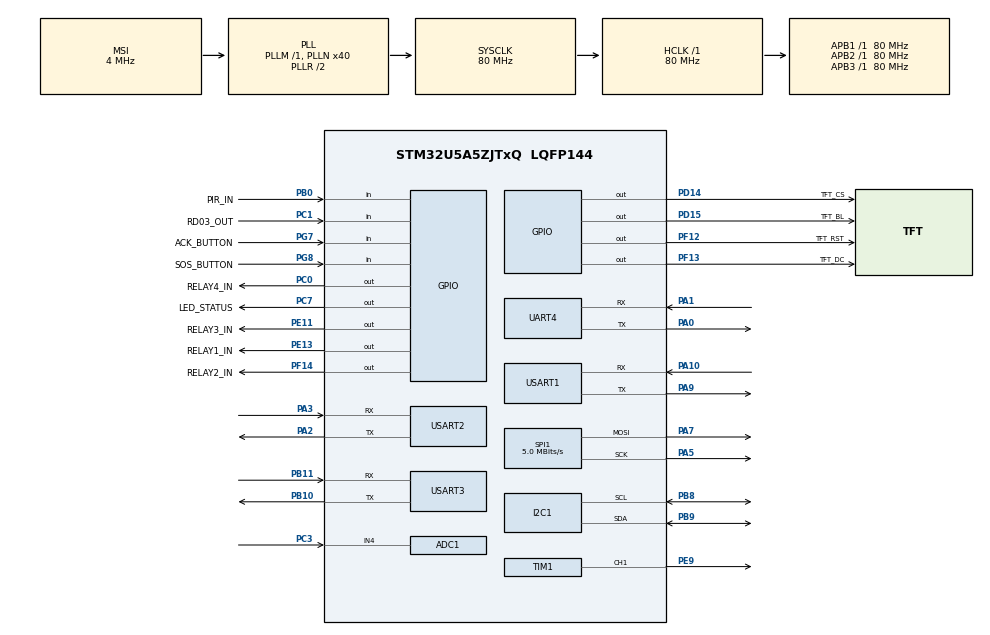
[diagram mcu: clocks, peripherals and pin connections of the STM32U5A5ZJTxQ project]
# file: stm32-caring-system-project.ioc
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ADC1.Channel-2\#ChannelRegularConversion=ADC_CHANNEL_4
ADC1.MonitoredBy-2\#ChannelRegularConversion=__NULL
ADC1.NbrOfConversionFlag=1
ADC1.OffsetNumber-2\#ChannelRegularConversion=ADC_OFFSET_NONE
ADC1.Overrun=ADC_OVR_DATA_OVERWRITTEN
ADC1.Rank-2\#ChannelRegularConversion=1
ADC1.Resolution=ADC_RESOLUTION_12B
ADC1.SamplingTime-2\#ChannelRegularConversion=ADC_SAMPLETIME_391CYCLES_5
ADC1.master=1
CORTEX_M33_NS.userName=CORTEX_M33
GPDMA1.DESTINC_GPDMACH1=DMA_DINC_INCREMENTED
GPDMA1.DIRECTION_GPDMACH0=DMA_MEMORY_TO_PERIPH
GPDMA1.DIRECTION_GPDMACH1=DMA_PERIPH_TO_MEMORY
GPDMA1.IPHANDLE_GPDMACH0-SIMPLEREQUEST_GPDMACH0=__NULL
GPDMA1.IPHANDLE_GPDMACH1-SIMPLEREQUEST_GPDMACH1=__NULL
GPDMA1.REQUEST_GPDMACH0=GPDMA1_REQUEST_USART2_TX
GPDMA1.REQUEST_GPDMACH1=GPDMA1_REQUEST_USART3_RX
GPDMA1.SRCINC_GPDMACH0=DMA_SINC_INCREMENTED
I2C1.Timing=0x10909CEC
Mcu.Family=STM32U5
Mcu.Name=STM32U5A5ZJTxQ
Mcu.Package=LQFP144
NVIC.GPDMA1_Channel0_IRQn=true\:0\:0\:false\:false\:true\:false\:true\:true
NVIC.GPDMA1_Channel1_IRQn=true\:0\:0\:false\:false\:true\:false\:true\:true
NVIC.PriorityGroup=NVIC_PRIORITYGROUP_4
NVIC.UART4_IRQn=true\:0\:0\:false\:false\:true\:true\:true\:true
NVIC.USART2_IRQn=true\:0\:0\:false\:false\:true\:true\:true\:true
NVIC.USART3_IRQn=true\:0\:0\:false\:false\:true\:true\:true\:true
PA0.Mode=Asynchronous
PA0.Signal=UART4_TX
PA1.Mode=Asynchronous
PA1.Signal=UART4_RX
PA10.Mode=Asynchronous
PA10.Signal=USART1_RX
PA2.Mode=Asynchronous
PA2.Signal=USART2_TX
PA3.Mode=Asynchronous
PA3.Signal=USART2_RX
PA5.GPIO_Speed=GPIO_SPEED_FREQ_VERY_HIGH
PA5.Mode=TX_Only_Simplex_Unidirect_Master
PA5.Signal=SPI1_SCK
PA7.GPIO_Speed=GPIO_SPEED_FREQ_VERY_HIGH
PA7.Mode=TX_Only_Simplex_Unidirect_Master
PA7.Signal=SPI1_MOSI
PA9.Mode=Asynchronous
PA9.Signal=USART1_TX
PB0.GPIO_Label=PIR_IN
PB0.GPIO_PuPd=GPIO_PULLDOWN
PB0.Signal=GPIO_Input
PB10.Mode=Asynchronous
PB10.Signal=USART3_TX
PB11.Mode=Asynchronous
PB11.Signal=USART3_RX
PB8.GPIO_Pu=GPIO_PULLUP
PB8.Mode=I2C
PB8.Signal=I2C1_SCL
PB9.GPIO_Pu=GPIO_PULLUP
PB9.Mode=I2C
PB9.Signal=I2C1_SDA
PC0.GPIO_Label=RELAY4_IN
PC0.GPIO_ModeDefaultOutputPP=GPIO_MODE_OUTPUT_PP
PC0.Signal=GPIO_Output
PC1.GPIO_Label=RD03_OUT
PC1.GPIO_PuPd=GPIO_PULLDOWN
PC1.Signal=GPIO_Input
PC3.Mode=IN4-Single-Ended
PC3.Signal=ADC1_IN4
PC7.GPIO_Label=LED_STATUS
PC7.Signal=GPIO_Output
PD14.GPIO_Label=TFT_CS
PD14.PinState=GPIO_PIN_SET
PD14.Signal=GPIO_Output
PD15.GPIO_Label=TFT_BL
PD15.Signal=GPIO_Output
PE11.GPIO_Label=RELAY3_IN
PE11.Signal=GPIO_Output
PE13.GPIO_Label=RELAY1_IN
PE13.Signal=GPIO_Output
PE9.Signal=S_TIM1_CH1
PF12.GPIO_Label=TFT_RST
PF12.PinState=GPIO_PIN_SET
PF12.Signal=GPIO_Output
PF13.GPIO_Label=TFT_DC
PF13.Signal=GPIO_Output
PF14.GPIO_Label=RELAY2_IN
PF14.Signal=GPIO_Output
PG7.GPIO_Label=ACK_BUTTON
PG7.GPIO_PuPd=GPIO_PULLUP
PG7.Signal=GPIO_Input
PG8.GPIO_Label=SOS_BUTTON
PG8.GPIO_PuPd=GPIO_PULLUP
PG8.Signal=GPIO_Input
ProjectManager.HeapSize=0x200
ProjectManager.StackSize=0x1000
ProjectManager.TargetToolchain=CMake
RCC.ADCFreq_Value=16000000
RCC.AHBFreq_Value=80000000
RCC.APB1Freq_Value=80000000
RCC.APB1TimFreq_Value=80000000
RCC.APB2Freq_Value=80000000
RCC.APB2TimFreq_Value=80000000
RCC.APB3Freq_Value=80000000
RCC.CortexFreq_Value=80000000
RCC.EPOD_VALUE=4000000
RCC.HCLKFreq_Value=80000000
RCC.HSE_VALUE=16000000
RCC.HSI48_VALUE=48000000
RCC.HSI_VALUE=16000000
RCC.LSE_VALUE=32768
RCC.LSIDIV_VALUE=32000
RCC.MSI_VALUE=4000000
RCC.PLLN=40
RCC.SYSCLKFreq_VALUE=80000000
RCC.SYSCLKSource=RCC_SYSCLKSOURCE_PLLCLK
RCC.VCOOutputFreq_Value=160000000
SH.S_TIM1_CH1.0=TIM1_CH1,PWM Generation1 CH1
SPI1.BaudRatePrescaler=SPI_BAUDRATEPRESCALER_16
SPI1.CLKPhase=SPI_PHASE_2EDGE
SPI1.CLKPolarity=SPI_POLARITY_HIGH
SPI1.CalculateBaudRate=5.0 MBits/s
SPI1.DataSize=SPI_DATASIZE_8BIT
SPI1.Direction=SPI_DIRECTION_2LINES_TXONLY
SPI1.Mode=SPI_MODE_MASTER
SPI1.VirtualType=VM_MASTER
TIM1.Channel-PWM\ Generation1\ CH1=TIM_CHANNEL_1
TIM1.PeriodNoDither=499
TIM1.Prescaler=79
USART1.VirtualMode-Asynchronous=VM_ASYNC
USART2.VirtualMode-Asynchronous=VM_ASYNC
USART3.VirtualMode-Asynchronous=VM_ASYNC
VP_GPDMA1_VS_GPDMACH0.Mode=SIMPLEREQUEST_GPDMACH0
VP_GPDMA1_VS_GPDMACH1.Mode=SIMPLEREQUEST_GPDMACH1
VP_ICACHE_VS_ICACHE.Mode=DirectMappedCache
VP_LPBAMQUEUE_VS_QUEUE.Mode=QUEUEMODE
VP_LPBAM_VS_SIG1.Mode=SmartRun
VP_LPBAM_VS_SIG4.Mode=LPDMA1
VP_MEMORYMAP_VS_MEMORYMAP.Mode=CurAppReg
VP_PWR_VS_SECSignals.Mode=Security/Privilege
VP_PWR_Vdda.Mode=isolationVdda
VP_TIM1_VS_ControllerModeClock.Mode=Clock Mode
board=custom

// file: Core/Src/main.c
/* USER CODE BEGIN Header */
/**
  ******************************************************************************
  * @file           : main.c
  * @brief          : Main program body
  ******************************************************************************
  * @attention
  *
  * Copyright (c) 2026 STMicroelectronics.
  * All rights reserved.
  *
  * This software is licensed under terms that can be found in the LICENSE file
  * in the root directory of this software component.
  * If no LICENSE file comes with this software, it is provided AS-IS.
  *
  ******************************************************************************
  */
/* USER CODE END Header */
#include "main.h"
#include "adc.h"
#include "gpdma.h"
#include "i2c.h"
#include "icache.h"
#include "spi.h"
#include "tim.h"
#include "usart.h"
#include "gpio.h"

/* USER CODE BEGIN Includes */
#include "app_state_machine.h"
#include "board_io.h"
#include "edge_ai.h"
#include "sensor_mvp.h"
#include "scene_engine.h"
#include "status_display.h"
#include "rd03_v2.h"
#include <stdio.h>
#include <string.h>
#include "comm_wifi.h"
#include "comm_local.h"
#include "tft_lcd.h"

/* USER CODE END Includes */

/* USER CODE BEGIN PD */
#define MAIN_STATUS_TX_PERIOD_MS 2000U
#define MAIN_DISPLAY_STATUS_PERIOD_MS 1000U
#define MAIN_AI_SAMPLE_PERIOD_MS 2000U
#define MAIN_BUZZER_TEST_MS 1000U
#define MAIN_RELAY_ALERT_MASK ((uint8_t)(1U << 0U))
#define MAIN_RELAY_OFFLINE_MASK ((uint8_t)(1U << 1U))
#define MAIN_GAS_WARN_PPM_EST 100U
#define MAIN_WIFI_ACK_TIMEOUT_MS 7000U
#define MAIN_WIFI_ACK_STARTUP_GRACE_MS 9000U

/* USER CODE END PD */

/* USER CODE BEGIN PV */
static uint8_t s_relay_state_mask = 0U;
static uint8_t s_relay_manual_mask = 0U;
static uint8_t s_relay_auto_mask = 0U;
static uint32_t s_debug_request_id = 9000UL;
static uint8_t s_debug_rx_byte = 0U;
static volatile uint8_t s_debug_rx_pending = 0U;
static uint8_t s_display_frozen = 0U;
static uint8_t s_tft_inversion = 0U;
static uint32_t s_buzzer_test_until = 0UL;
static uint32_t s_ai_session_id = 0UL;
static const char *s_ai_session_label = "idle";
static uint32_t s_last_wifi_ack_ms = 0UL;
static uint32_t s_last_wifi_ack_seq = 0UL;
static int16_t s_last_wifi_rssi_dbm = -127;
static uint8_t s_wifi_ack_seen = 0U;
static uint8_t s_wifi_link_online = 1U;

/* USER CODE END PV */

void SystemClock_Config(void);
/* USER CODE BEGIN PFP */
void HAL_UART_TxCpltCallback(UART_HandleTypeDef *huart){
    if(huart==&huart2){
        CommWifi_OnTxComplete();
    }
}

void HAL_UART_RxCpltCallback(UART_HandleTypeDef *huart){
    if(huart==&huart1){
        s_debug_rx_pending = 1U;
    }
    else if(huart==&huart2){
        CommWifi_OnRxComplete();
    }
    else if(huart==&huart4){
        CommLocal_OnRxComplete();
    }
}

void HAL_UARTEx_RxEventCallback(UART_HandleTypeDef *huart, uint16_t Size){
    if(huart==&huart3){
        Rd03V2_OnUartRxEvent(huart, Size);
    }
}

void HAL_UART_ErrorCallback(UART_HandleTypeDef *huart){
    if(huart==&huart1){
        (void)HAL_UART_Receive_IT(&huart1, &s_debug_rx_byte, 1U);
    } else if(huart==&huart2){
        CommWifi_OnUartError();
    } else if(huart==&huart3){
        Rd03V2_OnUartError(huart);
    } else if(huart==&huart4){
        CommLocal_OnUartError();
    }
}
/* USER CODE END PFP */

/* USER CODE BEGIN 0 */
static void Debug_WriteLine(const char *text)
{
  const uint8_t newline[] = "\r\n";

  if (text == NULL)
  {
    return;
  }

  if (HAL_UART_Transmit(&huart1, (const uint8_t *)text, (uint16_t)strlen(text), 100U) != HAL_OK)
  {
    Error_Handler();
  }

  if (HAL_UART_Transmit(&huart1, newline, (uint16_t)(sizeof(newline) - 1U), 100U) != HAL_OK)
  {
    Error_Handler();
  }
}

static AppCommandType_t AppCommand_FromInt(int value)
{
  if ((value < (int)APP_COMMAND_TRIGGER_SCENARIO) || (value > (int)APP_COMMAND_DEBUG_SET_GAS_PPM_OFFSET))
  {
    return APP_COMMAND_CLEAR_ALARM;
  }

  return (AppCommandType_t)value;
}

static AppScenario_t AppScenario_FromInt(int value)
{
  if (value == (int)APP_SCENARIO_GAS_RISK)
  {
    return APP_SCENARIO_GAS_RISK;
  }

  if ((value < (int)APP_SCENARIO_NONE) || (value > (int)APP_SCENARIO_OFFLINE_AUTONOMY))
  {
    return APP_SCENARIO_NONE;
  }

  return (AppScenario_t)value;
}

static void Apply_Relay_Mask(uint8_t relay_mask)
{
  s_relay_state_mask = (uint8_t)(relay_mask & 0x0FU);
  BoardIo_SetRelayMask(s_relay_state_mask);
  AppStateMachine_SetRelayStateMask(s_relay_state_mask);
}

static uint8_t Build_Auto_Relay_Mask(const AppStatus_t *status)
{
  uint8_t mask = 0U;

  if (status == NULL)
  {
    return 0U;
  }

  if ((status->state == APP_STATE_ACK_WAIT) ||
      (status->state == APP_STATE_ALARM) ||
      (status->state == APP_STATE_NO_RESPONSE))
  {
    mask |= MAIN_RELAY_ALERT_MASK;
  }

  if (status->network_state == APP_NETWORK_OFFLINE)
  {
    mask |= MAIN_RELAY_OFFLINE_MASK;
  }

  return mask;
}

static void Update_Relay_Output(void)
{
  Apply_Relay_Mask((uint8_t)(s_relay_manual_mask | s_relay_auto_mask));
}

static void Update_Relay_Automation(void)
{
  char line[128];
  AppStatus_t app_status;
  uint8_t next_auto_mask;

  AppStateMachine_GetStatus(&app_status);
  next_auto_mask = Build_Auto_Relay_Mask(&app_status);
  if (next_auto_mask == s_relay_auto_mask)
  {
    return;
  }

  s_relay_auto_mask = next_auto_mask;
  Update_Relay_Output();

  (void)snprintf(line,
                 sizeof(line),
                 "[INFO] relay auto manual=%u auto=%u output=%u state=%s risk=%d",
                 (unsigned int)s_relay_manual_mask,
                 (unsigned int)s_relay_auto_mask,
                 (unsigned int)s_relay_state_mask,
                 AppStatus_ToDisplayText(&app_status),
                 app_status.risk);
  Debug_WriteLine(line);
}

static void Clear_Relay_Manual_Mask(const char *source)
{
  char line[128];
  const uint8_t previous_manual_mask = s_relay_manual_mask;

  s_relay_manual_mask = 0U;
  Update_Relay_Automation();
  Update_Relay_Output();

  if (previous_manual_mask != 0U)
  {
    (void)snprintf(line,
                   sizeof(line),
                   "[INFO] %s relay manual cleared previous=%u auto=%u output=%u",
                   (source != NULL) ? source : "ack",
                   (unsigned int)previous_manual_mask,
                   (unsigned int)s_relay_auto_mask,
                   (unsigned int)s_relay_state_mask);
    Debug_WriteLine(line);
  }
}

static void Handle_Relay_Command(const CommWifi_RelayCommand_t *cmd, const char *source)
{
  char line[128];
  uint8_t relay_bit;
  CommWifi_RelayAction_t final_state;
  CommWifi_RelayResult_t relay_result;
  CommWifi_RelayReason_t relay_reason;
  CommWifi_Result result;

  if (cmd == NULL)
  {
    return;
  }

  relay_bit = (uint8_t)(1U << (cmd->relay_id - 1U));
  if (cmd->action == COMM_WIFI_RELAY_ACTION_ON)
  {
    s_relay_manual_mask = (uint8_t)(s_relay_manual_mask | relay_bit);
  }
  else
  {
    s_relay_manual_mask = (uint8_t)(s_relay_manual_mask & (uint8_t)(~relay_bit));
  }

  Update_Relay_Output();
  final_state = ((s_relay_state_mask & relay_bit) != 0U) ?
                COMM_WIFI_RELAY_ACTION_ON :
                COMM_WIFI_RELAY_ACTION_OFF;
  relay_result = (final_state == cmd->action) ?
                 COMM_WIFI_RELAY_RESULT_OK :
                 COMM_WIFI_RELAY_RESULT_DENY;
  relay_reason = (relay_result == COMM_WIFI_RELAY_RESULT_OK) ?
                 COMM_WIFI_RELAY_REASON_NONE :
                 COMM_WIFI_RELAY_REASON_BUSY;

  result = CommWifi_SendRelayResult(cmd->request_id,
                                    cmd->relay_id,
                                    relay_result,
                                    final_state,
                                    relay_reason);

  (void)snprintf(line,
                 sizeof(line),
                 "[INFO] %s relay cmd id=%lu relay=%u request=%s final=%s manual=%u auto=%u output=%u result=%d",
                 (source != NULL) ? source : "remote",
                 (unsigned long)cmd->request_id,
                 (unsigned int)cmd->relay_id,
                 (cmd->action == COMM_WIFI_RELAY_ACTION_ON) ? "ON" : "OFF",
                 (final_state == COMM_WIFI_RELAY_ACTION_ON) ? "ON" : "OFF",
                 (unsigned int)s_relay_manual_mask,
                 (unsigned int)s_relay_auto_mask,
                 (unsigned int)s_relay_state_mask,
                 (int)result);
  Debug_WriteLine(line);
}

static void Handle_Protocol_Command(const CommWifi_Command_t *command, uint32_t now, const char *source)
{
  char line[128];

  if (command == NULL)
  {
    return;
  }

  if (command->type == COMM_WIFI_COMMAND_LINK_ACK)
  {
    const uint8_t online = command->data.link_ack.online;
    const uint8_t changed = (online != s_wifi_link_online) ? 1U : 0U;

    s_wifi_ack_seen = 1U;
    s_last_wifi_ack_ms = now;
    s_last_wifi_ack_seq = command->data.link_ack.status_seq;
    s_last_wifi_rssi_dbm = command->data.link_ack.rssi_dbm;
    if (changed != 0U)
    {
      s_wifi_link_online = online;
      AppStateMachine_SetNetworkAvailable(online != 0U, now);
      (void)snprintf(line,
                     sizeof(line),
                     "[INFO] wifi heartbeat %s seq=%lu rssi=%d",
                     (online != 0U) ? "online" : "offline",
                     (unsigned long)s_last_wifi_ack_seq,
                     (int)s_last_wifi_rssi_dbm);
      Debug_WriteLine(line);
    }
  }
  else if (command->type == COMM_WIFI_COMMAND_RELAY)
  {
    Handle_Relay_Command(&command->data.relay, source);
  }
  else if (command->type == COMM_WIFI_COMMAND_DEMO)
  {
    const AppCommandType_t app_command = AppCommand_FromInt(command->data.demo.command_type);
    const AppScenario_t app_scenario = AppScenario_FromInt(command->data.demo.scenario);

    if (app_command == APP_COMMAND_DEBUG_SET_GAS_PPM_OFFSET)
    {
      uint16_t offset = 0U;

      if (command->data.demo.value > 0)
      {
        offset = (command->data.demo.value > 9999) ? 9999U : (uint16_t)command->data.demo.value;
      }

      SensorMvp_SetGasPpmDebugOffset(offset);
      (void)snprintf(line,
                     sizeof(line),
                     "[INFO] %s gas ppm debug offset=%u id=%lu scenario=%d value=%d",
                     (source != NULL) ? source : "remote",
                     (unsigned int)offset,
                     (unsigned long)command->data.demo.request_id,
                     command->data.demo.scenario,
                     command->data.demo.value);
      Debug_WriteLine(line);
      return;
    }

    AppStateMachine_HandleDemoCommand(command->data.demo.request_id,
                                      app_command,
                                      app_scenario,
                                      command->data.demo.value,
                                      now);
    if ((app_command == APP_COMMAND_USER_ACK) || (app_command == APP_COMMAND_CLEAR_ALARM))
    {
      Clear_Relay_Manual_Mask(source);
    }
    else
    {
      Update_Relay_Automation();
    }
    (void)snprintf(line,
                   sizeof(line),
                   "[INFO] %s demo cmd id=%lu type=%d scenario=%d value=%d",
                   (source != NULL) ? source : "remote",
                   (unsigned long)command->data.demo.request_id,
                   command->data.demo.command_type,
                   command->data.demo.scenario,
                   command->data.demo.value);
    Debug_WriteLine(line);
  }
}

static void Update_Wifi_Link_Health(uint32_t now)
{
  const uint8_t timed_out =
      ((s_wifi_ack_seen != 0U) && ((now - s_last_wifi_ack_ms) > MAIN_WIFI_ACK_TIMEOUT_MS)) ||
      ((s_wifi_ack_seen == 0U) && (now > MAIN_WIFI_ACK_STARTUP_GRACE_MS));

  if ((timed_out != 0U) && (s_wifi_link_online != 0U))
  {
    s_wifi_link_online = 0U;
    AppStateMachine_SetNetworkAvailable(false, now);
    Debug_WriteLine("[WARN] wifi heartbeat timeout, enter local autonomy");
  }
}

static void Process_Cloud_Commands(uint32_t now)
{
  CommWifi_Command_t command;

  while (CommWifi_PollCommand(&command) == COMM_WIFI_OK)
  {
    Handle_Protocol_Command(&command, now, "cloud");
  }
}

static void Handle_Voice_Risk_Command(const CommWifi_VoiceRiskCommand_t *command, uint32_t now)
{
  char line[128];

  if (command == NULL)
  {
    return;
  }

  AppStateMachine_HandleVoiceRisk(command->request_id, command->risk_level, now);
  if (command->risk_level == 0U)
  {
    Clear_Relay_Manual_Mask("voice");
  }
  else
  {
    Update_Relay_Automation();
  }

  (void)snprintf(line,
                 sizeof(line),
                 "[INFO] voice risk cmd id=%lu level=%u",
                 (unsigned long)command->request_id,
                 (unsigned int)command->risk_level);
  Debug_WriteLine(line);
}

static void Process_LocalVoice_Commands(uint32_t now)
{
  CommWifi_Command_t command;

  while (CommLocal_PollCommand(&command) == COMM_WIFI_OK)
  {
    if (command.type == COMM_WIFI_COMMAND_VOICE_RISK)
    {
      Handle_Voice_Risk_Command(&command.data.voice_risk, now);
    }
    else
    {
      Handle_Protocol_Command(&command, now, "voice");
    }
  }
}

static void Flush_App_Events(void)
{
  char line[256];
  AppEventRecord_t event;

  while (AppStateMachine_PollEvent(&event))
  {
    const CommWifi_Result result = CommWifi_SendEvent(event.event_id,
                                                       (int)event.scenario,
                                                       (int)event.event_type,
                                                       (int)event.trigger_source,
                                                       (int)event.state_before,
                                                       (int)event.state_after,
                                                       event.risk,
                                                       (int)event.result,
                                                       (int)event.network_state,
                                                       (int)event.power_state,
                                                       event.flags,
                                                       event.timestamp_ms);

    (void)snprintf(line,
                   sizeof(line),
                   "[INFO] app event id=%lu scenario=%s(%d) type=%s(%d) source=%s state=%s->%s risk=%d result=%s tx=%d",
                   (unsigned long)event.event_id,
                   AppScenario_ToShortText(event.scenario),
                   (int)event.scenario,
                   AppEventType_ToText(event.event_type),
                   (int)event.event_type,
                   AppTriggerSource_ToText(event.trigger_source),
                   AppState_ToText(event.state_before),
                   AppState_ToText(event.state_after),
                   event.risk,
                   AppResult_ToText(event.result),
                   (int)result);
    Debug_WriteLine(line);

    (void)snprintf(line,
                   sizeof(line),
                   "[INFO] app event detail network=%s power=%s flags=0x%08lX t=%lu",
                   AppNetworkState_ToText(event.network_state),
                   AppPowerState_ToText(event.power_state),
                   (unsigned long)event.flags,
                   (unsigned long)event.timestamp_ms);
    Debug_WriteLine(line);
  }
}

static void Update_App(uint32_t now)
{
  SensorMvp_Status_t status;
  AppStatus_t app_status;
  EdgeAi_Result_t edge_ai;

  if (SensorMvp_GetStatus(&status) == HAL_OK)
  {
    AppStateMachine_GetStatus(&app_status);
    (void)EdgeAi_UpdateIfDue(&status, &app_status, now);
    EdgeAi_GetResult(&edge_ai);
    AppStateMachine_SetEdgeAiHint((edge_ai.stale == 0U) ? edge_ai.valid : 0U,
                                  (uint8_t)edge_ai.scene,
                                  (uint8_t)edge_ai.raw_scene,
                                  edge_ai.risk_level,
                                  edge_ai.confidence,
                                  edge_ai.stability,
                                  edge_ai.evidence_mask,
                                  edge_ai.anomaly_score,
                                  edge_ai.trend_score);
    AppStateMachine_Update(&status, now);
    AppStateMachine_GetStatus(&app_status);
    SceneEngine_Update(&status, &app_status, now);
  }
  else
  {
    AppStateMachine_GetStatus(&app_status);
    (void)EdgeAi_UpdateIfDue(NULL, &app_status, now);
    EdgeAi_GetResult(&edge_ai);
    AppStateMachine_SetEdgeAiHint((edge_ai.stale == 0U) ? edge_ai.valid : 0U,
                                  (uint8_t)edge_ai.scene,
                                  (uint8_t)edge_ai.raw_scene,
                                  edge_ai.risk_level,
                                  edge_ai.confidence,
                                  edge_ai.stability,
                                  edge_ai.evidence_mask,
                                  edge_ai.anomaly_score,
                                  edge_ai.trend_score);
    AppStateMachine_Update(NULL, now);
    AppStateMachine_GetStatus(&app_status);
    SceneEngine_Update(NULL, &app_status, now);
  }
}

static void Update_BoardIo(uint32_t now)
{
  AppStatus_t app_status;
  BoardIo_Events_t events;

  AppStateMachine_GetStatus(&app_status);
  if (s_buzzer_test_until != 0UL)
  {
    if ((int32_t)(now - s_buzzer_test_until) < 0)
    {
      app_status.state = APP_STATE_ALARM;
    }
    else
    {
      s_buzzer_test_until = 0UL;
    }
  }
  BoardIo_Update(now, &app_status, &events);

  if (events.sos_pressed != 0U)
  {
    Debug_WriteLine("[INFO] local sos button pressed");
    AppStateMachine_HandleLocalSos(now);
  }

  if (events.ack_pressed != 0U)
  {
    Debug_WriteLine("[INFO] local ack button pressed");
    AppStateMachine_HandleLocalAck(now);
    Clear_Relay_Manual_Mask("local ack");
  }
}

static void Print_DebugConsole_Help(void)
{
  Debug_WriteLine("[INFO] console: s=SOS a=ACK c=clear 1=fall-demo 2=still-demo 3=gas-demo o=offline n=online h=help");
  Debug_WriteLine("[INFO] console: 4=gas+150ppm 5=gas+350ppm 0=clear-gas-debug 6/7/8=voice-risk1/2/3 9=voice-clear");
  Debug_WriteLine("[INFO] console: r/t/y/u=relay b=buzzer p=status k=radar-cal d=display-freeze i=tft-invert");
  Debug_WriteLine("[INFO] console: ai labels e=env w=walk f=fall j=still g=gas v=voice x=idle");
}

static const char *Get_RiskSource_Text(const SensorMvp_Status_t *sensor, const AppStatus_t *app_status)
{
  if (app_status == NULL)
  {
    return "UNKNOWN";
  }

  if ((app_status->state == APP_STATE_ACK_WAIT) ||
      (app_status->state == APP_STATE_ALARM) ||
      (app_status->state == APP_STATE_NO_RESPONSE))
  {
    switch (app_status->last_trigger_source)
    {
      case APP_TRIGGER_VOICE:
        return "VOICE_ACK";
      case APP_TRIGGER_SENSOR:
        return "GAS_ACK";
      case APP_TRIGGER_RADAR:
        return "RADAR_ACK";
      case APP_TRIGGER_BUTTON:
        return "BUTTON_ACK";
      case APP_TRIGGER_REMOTE:
        return "REMOTE_ACK";
      case APP_TRIGGER_AI:
        return "EDGE_AI_ACK";
      default:
        return "STATE_ACK";
    }
  }

  if ((app_status->last_trigger_source == APP_TRIGGER_VOICE) && (app_status->risk > 0))
  {
    return "VOICE";
  }

  if ((app_status->last_trigger_source == APP_TRIGGER_AI) && (app_status->risk > 0))
  {
    return "EDGE_AI";
  }

  if ((app_status->risk <= 0) && (app_status->state != APP_STATE_NOTICE))
  {
    return "NONE";
  }

  if ((sensor != NULL) &&
      (sensor->gas_valid != 0U) &&
      (sensor->gas_ppm_est >= MAIN_GAS_WARN_PPM_EST))
  {
    return "GAS";
  }

  if ((app_status->edge_ai_valid != 0U) &&
      (app_status->edge_ai_risk > 0U) &&
      (app_status->edge_ai_confidence >= 60U) &&
      (app_status->edge_ai_stability >= 2U))
  {
    return "EDGE_AI";
  }

  if (app_status->network_state == APP_NETWORK_OFFLINE)
  {
    return "NETWORK";
  }

  if ((sensor != NULL) && (sensor->presence != 0))
  {
    if (sensor->radar_presence != 0U)
    {
      return "RADAR_UART";
    }
    if (sensor->rd03_ot2_presence != 0U)
    {
      return "RD03_OT2";
    }
    if (sensor->pir_presence != 0U)
    {
      return "PIR";
    }
    return "PRESENCE";
  }

  if (app_status->state == APP_STATE_NOTICE)
  {
    return "NOTICE";
  }

  return "NONE";
}

static void Handle_DebugVoiceRisk(uint8_t risk_level, uint32_t now)
{
  CommWifi_VoiceRiskCommand_t command;

  command.request_id = s_debug_request_id++;
  command.risk_level = risk_level;
  Handle_Voice_Risk_Command(&command, now);
}

static void Set_AiSession_Label(const char *label)
{
  char line[128];

  if (label == NULL)
  {
    label = "idle";
  }

  s_ai_session_label = label;
  if (strcmp(label, "idle") == 0)
  {
    s_ai_session_id = 0UL;
  }
  else
  {
    s_ai_session_id++;
  }

  (void)snprintf(line,
                 sizeof(line),
                 "[INFO] ai label session=%lu label=%s",
                 (unsigned long)s_ai_session_id,
                 s_ai_session_label);
  Debug_WriteLine(line);
}

static void DebugConsole_StartRx(void)
{
  HAL_NVIC_SetPriority(USART1_IRQn, 0, 0);
  HAL_NVIC_EnableIRQ(USART1_IRQn);

  if (HAL_UART_Receive_IT(&huart1, &s_debug_rx_byte, 1U) == HAL_OK)
  {
    Debug_WriteLine("[INFO] console rx armed");
  }
  else
  {
    Debug_WriteLine("[WARN] console rx arm failed");
  }
}

static void Print_DebugConsole_Status(void)
{
  char line[640];
  SensorMvp_Status_t sensor_status;
  AppStatus_t app_status;
  SceneEngine_Status_t scene_status;
  EdgeAi_Result_t edge_ai_result;
  const SensorMvp_Status_t *sensor_for_risk = NULL;
  uint32_t edge_ai_age_ms = 0UL;

  AppStateMachine_GetStatus(&app_status);
  SceneEngine_GetStatus(&scene_status);
  EdgeAi_GetResult(&edge_ai_result);
  if (edge_ai_result.sequence != 0UL)
  {
    edge_ai_age_ms = HAL_GetTick() - edge_ai_result.last_update_ms;
  }
  if (SensorMvp_GetStatus(&sensor_status) == HAL_OK)
  {
    sensor_for_risk = &sensor_status;
  }

  (void)snprintf(line,
                 sizeof(line),
                 "[INFO] console app state=%s scenario=%s risk=%d risk_src=%s ack_ms=%lu relay=%u manual=%u auto=%u ai_session=%lu ai_label=%s edge_ai=%s raw=%s risk=%u conf=%u stab=%u score=%u trend=%u ev=0x%02X ai_ms=%lu ai_max=%lu ai_age=%lu ai_skip=%lu ai_stale=%u",
                 AppStatus_ToDisplayText(&app_status),
                 AppScenario_ToShortText(app_status.scenario),
                 app_status.risk,
                 Get_RiskSource_Text(sensor_for_risk, &app_status),
                 (unsigned long)app_status.ack_remaining_ms,
                 (unsigned int)app_status.relay_state_mask,
                 (unsigned int)s_relay_manual_mask,
                 (unsigned int)s_relay_auto_mask,
                 (unsigned long)s_ai_session_id,
                 s_ai_session_label,
                 EdgeAi_SceneToText((EdgeAiScene_t)app_status.edge_ai_scene),
                 EdgeAi_SceneToText((EdgeAiScene_t)app_status.edge_ai_raw_scene),
                 (unsigned int)app_status.edge_ai_risk,
                 (unsigned int)app_status.edge_ai_confidence,
                 (unsigned int)app_status.edge_ai_stability,
                 (unsigned int)app_status.edge_ai_anomaly_score,
                 (unsigned int)app_status.edge_ai_trend_score,
                 (unsigned int)app_status.edge_ai_evidence_mask,
                 (unsigned long)edge_ai_result.last_run_ms,
                 (unsigned long)edge_ai_result.max_run_ms,
                 (unsigned long)edge_ai_age_ms,
                 (unsigned long)edge_ai_result.skipped_count,
                 (unsigned int)edge_ai_result.stale);
  Debug_WriteLine(line);

  (void)snprintf(line,
                 sizeof(line),
                 "[INFO] console scene top=%s action=%s severity=%u conf=%u count=%u mask=0x%08lX evidence=%u/%u",
                 SceneEngine_IdToText(scene_status.top.id),
                 SceneEngine_ActionToText(scene_status.top.action_hint),
                 (unsigned int)scene_status.top.severity,
                 (unsigned int)scene_status.top.confidence,
                 (unsigned int)scene_status.signal_count,
                 (unsigned long)scene_status.scene_mask,
                 (unsigned int)scene_status.top.evidence_primary,
                 (unsigned int)scene_status.top.evidence_secondary);
  Debug_WriteLine(line);

  if (sensor_for_risk != NULL)
  {
    (void)snprintf(line,
                   sizeof(line),
                   "[INFO] console sensor env_valid=%u gas_valid=%u temp=%.1f hum=%.1f gas_mv=%d base=%u delta=%u ppm=%u ppm_dbg=%u presence=%d",
                   (unsigned int)sensor_status.env_valid,
                   (unsigned int)sensor_status.gas_valid,
                   sensor_status.temperature_c,
                   sensor_status.humidity_pct,
                   sensor_status.gas,
                   (unsigned int)sensor_status.gas_baseline_mv,
                   (unsigned int)sensor_status.gas_delta_mv,
                   (unsigned int)sensor_status.gas_ppm_est,
                   (unsigned int)SensorMvp_GetGasPpmDebugOffset(),
                   sensor_status.presence);
    Debug_WriteLine(line);

    (void)snprintf(line,
                   sizeof(line),
                   "[INFO] console radar pir=%u rd03_ot2=%u valid=%u presence=%u cm=%u zone=%u peak_gate=%u peak_cm=%u active=%u motion=%lu energy=%lu still=%lu occupied=%lu age_ms=%lu",
                   (unsigned int)sensor_status.pir_presence,
                   (unsigned int)sensor_status.rd03_ot2_presence,
                   (unsigned int)sensor_status.radar_valid,
                   (unsigned int)sensor_status.radar_presence,
                   (unsigned int)sensor_status.radar_distance_cm,
                   (unsigned int)sensor_status.radar_zone,
                   (unsigned int)sensor_status.radar_peak_gate,
                   (unsigned int)sensor_status.radar_peak_gate_cm,
                   (unsigned int)sensor_status.radar_active_gate_count,
                   (unsigned long)sensor_status.radar_motion_score,
                   (unsigned long)sensor_status.radar_energy_sum,
                   (unsigned long)sensor_status.radar_still_seconds,
                   (unsigned long)sensor_status.radar_occupied_seconds,
                   (unsigned long)sensor_status.radar_last_seen_age_ms);
  }
  else
  {
    (void)snprintf(line,
                   sizeof(line),
                   "[INFO] console sensor=invalid");
  }

  Debug_WriteLine(line);
}

static void Toggle_DebugRelay(uint8_t relay_id)
{
  char line[128];
  uint8_t relay_bit;

  if ((relay_id == 0U) || (relay_id > 4U))
  {
    return;
  }

  relay_bit = (uint8_t)(1U << (relay_id - 1U));
  s_relay_manual_mask = (uint8_t)(s_relay_manual_mask ^ relay_bit);
  Update_Relay_Output();

  (void)snprintf(line,
                 sizeof(line),
                 "[INFO] console relay%u manual=%s manual=%u auto=%u output=%u",
                 (unsigned int)relay_id,
                 ((s_relay_manual_mask & relay_bit) != 0U) ? "ON" : "OFF",
                 (unsigned int)s_relay_manual_mask,
                 (unsigned int)s_relay_auto_mask,
                 (unsigned int)s_relay_state_mask);
  Debug_WriteLine(line);
}

static void Handle_DebugConsole_Command(uint8_t command, uint32_t now)
{
  char line[48];

  if ((command >= 32U) && (command <= 126U))
  {
    (void)snprintf(line, sizeof(line), "[INFO] console rx=%c", (char)command);
  }
  else
  {
    (void)snprintf(line, sizeof(line), "[INFO] console rx=0x%02X", (unsigned int)command);
  }
  Debug_WriteLine(line);

  switch (command)
  {
    case 's':
    case 'S':
      Debug_WriteLine("[INFO] console trigger local SOS");
      AppStateMachine_HandleLocalSos(now);
      break;

    case 'a':
    case 'A':
      Debug_WriteLine("[INFO] console trigger local ACK");
      AppStateMachine_HandleLocalAck(now);
      Clear_Relay_Manual_Mask("console ack");
      break;

    case 'c':
    case 'C':
      Debug_WriteLine("[INFO] console clear alarm");
      AppStateMachine_HandleDemoCommand(s_debug_request_id++,
                                        APP_COMMAND_CLEAR_ALARM,
                                        APP_SCENARIO_NONE,
                                        1,
                                        now);
      Clear_Relay_Manual_Mask("console clear");
      break;

    case '1':
      Debug_WriteLine("[INFO] console trigger scenario SOS/FALL");
      AppStateMachine_HandleDemoCommand(s_debug_request_id++,
                                        APP_COMMAND_TRIGGER_SCENARIO,
                                        APP_SCENARIO_SOS_OR_FALL_SIM,
                                        1,
                                        now);
      break;

    case '2':
      Debug_WriteLine("[INFO] console trigger scenario LONG_STILL");
      AppStateMachine_HandleDemoCommand(s_debug_request_id++,
                                        APP_COMMAND_TRIGGER_SCENARIO,
                                        APP_SCENARIO_LONG_STILL_NO_RESPONSE,
                                        1,
                                        now);
      break;

    case '3':
      Debug_WriteLine("[INFO] console trigger scenario GAS_RISK");
      AppStateMachine_HandleDemoCommand(s_debug_request_id++,
                                        APP_COMMAND_TRIGGER_SCENARIO,
                                        APP_SCENARIO_GAS_RISK,
                                        1,
                                        now);
      break;

    case '4':
      SensorMvp_SetGasPpmDebugOffset(150U);
      Debug_WriteLine("[INFO] console gas ppm debug offset=150");
      break;

    case '5':
      SensorMvp_SetGasPpmDebugOffset(350U);
      Debug_WriteLine("[INFO] console gas ppm debug offset=350");
      break;

    case '0':
      SensorMvp_SetGasPpmDebugOffset(0U);
      Debug_WriteLine("[INFO] console gas ppm debug offset=0");
      break;

    case '6':
      Debug_WriteLine("[INFO] console simulate voice RISK:1");
      Handle_DebugVoiceRisk(1U, now);
      break;

    case '7':
      Debug_WriteLine("[INFO] console simulate voice RISK:2");
      Handle_DebugVoiceRisk(2U, now);
      break;

    case '8':
      Debug_WriteLine("[INFO] console simulate voice RISK:3");
      Handle_DebugVoiceRisk(3U, now);
      break;

    case '9':
      Debug_WriteLine("[INFO] console simulate voice RISK:0");
      Handle_DebugVoiceRisk(0U, now);
      break;

    case 'o':
    case 'O':
      Debug_WriteLine("[INFO] console simulate network offline");
      AppStateMachine_HandleDemoCommand(s_debug_request_id++,
                                        APP_COMMAND_SIMULATE_NETWORK,
                                        APP_SCENARIO_OFFLINE_AUTONOMY,
                                        0,
                                        now);
      break;

    case 'n':
    case 'N':
      Debug_WriteLine("[INFO] console simulate network restored");
      AppStateMachine_HandleDemoCommand(s_debug_request_id++,
                                        APP_COMMAND_SIMULATE_NETWORK,
                                        APP_SCENARIO_OFFLINE_AUTONOMY,
                                        1,
                                        now);
      break;

    case 'p':
    case 'P':
      Print_DebugConsole_Status();
      break;

    case 'k':
    case 'K':
      SensorMvp_SetRadarCalibrationLogEnabled((SensorMvp_GetRadarCalibrationLogEnabled() == 0U) ? 1U : 0U);
      break;

    case 'b':
    case 'B':
      s_buzzer_test_until = now + MAIN_BUZZER_TEST_MS;
      Debug_WriteLine("[INFO] console buzzer test 1000ms");
      break;

    case 'e':
    case 'E':
      Set_AiSession_Label("env_normal");
      break;

    case 'w':
    case 'W':
      Set_AiSession_Label("walk_motion");
      break;

    case 'f':
    case 'F':
      Set_AiSession_Label("fall_sim");
      break;

    case 'j':
    case 'J':
      Set_AiSession_Label("long_still");
      break;

    case 'g':
    case 'G':
      Set_AiSession_Label("gas_debug");
      break;

    case 'v':
    case 'V':
      Set_AiSession_Label("voice_risk");
      break;

    case 'x':
    case 'X':
      Set_AiSession_Label("idle");
      break;

    case 'd':
    case 'D':
      s_display_frozen = (s_display_frozen == 0U) ? 1U : 0U;
      StatusDisplay_SetFrozen(s_display_frozen);
      Debug_WriteLine(s_display_frozen != 0U ? "[INFO] console display frozen" : "[INFO] console display resumed");
      break;

    case 'i':
    case 'I':
      s_tft_inversion = (s_tft_inversion == 0U) ? 1U : 0U;
      if (TftLcd_SetInversion(s_tft_inversion) == HAL_OK)
      {
        Debug_WriteLine(s_tft_inversion != 0U ? "[INFO] console tft inversion on" : "[INFO] console tft inversion off");
      }
      else
      {
        Debug_WriteLine("[WARN] console tft inversion command failed");
      }
      break;

    case 'r':
    case 'R':
      Toggle_DebugRelay(1U);
      break;

    case 't':
    case 'T':
      Toggle_DebugRelay(2U);
      break;

    case 'y':
    case 'Y':
      Toggle_DebugRelay(3U);
      break;

    case 'u':
    case 'U':
      Toggle_DebugRelay(4U);
      break;

    case 'h':
    case 'H':
    case '?':
      Print_DebugConsole_Help();
      break;

    case '\r':
    case '\n':
      break;

    default:
      Debug_WriteLine("[WARN] console unknown command, press h for help");
      break;
  }
}

static void Update_DebugConsole(uint32_t now)
{
  uint8_t command;

  if (s_debug_rx_pending == 0U)
  {
    return;
  }

  s_debug_rx_pending = 0U;
  command = s_debug_rx_byte;
  (void)HAL_UART_Receive_IT(&huart1, &s_debug_rx_byte, 1U);
  Handle_DebugConsole_Command(command, now);
}

static void Send_Status_ToWifi(void)
{
  char line[320];
  SensorMvp_Status_t status;
  AppStatus_t app_status;

  if (SensorMvp_GetStatus(&status) != HAL_OK)
  {
    Debug_WriteLine("[WARN] status get failed");
    return;
  }

  AppStateMachine_GetStatus(&app_status);

  const CommWifi_Result result = CommWifi_SendStatusV2(status.temperature_c,
                                                       status.humidity_pct,
                                                       (int)status.gas_ppm_est,
                                                       status.presence,
                                                       app_status.risk,
                                                       app_status.relay_state_mask,
                                                       app_status.cloud_perm_mask);

  if (result == COMM_WIFI_OK)
  {
    (void)snprintf(line,
                   sizeof(line),
                   "[INFO] status tx temp=%.1f hum=%.1f gas_ppm_est=%u gas_dbg_offset=%u gas_mv=%d presence=%d risk=%d risk_src=%s state=%s scenario=%s relay=%u env_valid=%u gas_valid=%u",
                   status.temperature_c,
                   status.humidity_pct,
                   (unsigned int)status.gas_ppm_est,
                   (unsigned int)SensorMvp_GetGasPpmDebugOffset(),
                   status.gas,
                   status.presence,
                   app_status.risk,
                   Get_RiskSource_Text(&status, &app_status),
                   AppStatus_ToDisplayText(&app_status),
                   AppScenario_ToShortText(app_status.scenario),
                   (unsigned int)app_status.relay_state_mask,
                   (unsigned int)status.env_valid,
                   (unsigned int)status.gas_valid);
  }
  else
  {
    (void)snprintf(line, sizeof(line), "[WARN] status tx failed err=%d", (int)result);
  }

  Debug_WriteLine(line);
}

static void Update_Local_Display(void)
{
  SensorMvp_Status_t status;
  AppStatus_t app_status;

  if (SensorMvp_GetStatus(&status) == HAL_OK)
  {
    AppStateMachine_GetStatus(&app_status);
    StatusDisplay_SetStatus(&status, &app_status);
  }
}

static void Log_Ai_Sample(uint32_t now)
{
  char line[2048];
  SensorMvp_Status_t sensor;
  AppStatus_t app_status;
  SceneEngine_Status_t scene_status;
  EdgeAi_Result_t edge_ai_result;
  uint32_t edge_ai_age_ms = 0UL;

  if (SensorMvp_GetStatus(&sensor) != HAL_OK)
  {
    return;
  }

  AppStateMachine_GetStatus(&app_status);
  SceneEngine_GetStatus(&scene_status);
  EdgeAi_GetResult(&edge_ai_result);
  if (edge_ai_result.sequence != 0UL)
  {
    edge_ai_age_ms = now - edge_ai_result.last_update_ms;
  }
  (void)snprintf(line,
                 sizeof(line),
                 "[AI_SAMPLE] t=%lu session=%lu label=%s temp=%.1f hum=%.1f env_valid=%u gas_valid=%u gas_mv=%d gas_base=%u gas_ppm=%u gas_dbg_offset=%u gas_delta=%u presence=%d pir=%u rd03_ot2=%u radar_valid=%u radar_presence=%u radar_cm=%u zone=%u peak_gate=%u peak_cm=%u peak_energy=%lu active_gates=%u motion=%lu energy=%lu still=%lu occupied=%lu radar_age_ms=%lu state=%s scenario=%s risk=%d risk_src=%s scene_top=%s scene_action=%s scene_sev=%u scene_conf=%u scene_count=%u scene_mask=0x%08lx scene_ev1=%u scene_ev2=%u edge_ai_scene=%s edge_ai_raw=%s edge_ai_risk=%u edge_ai_conf=%u edge_ai_stab=%u edge_ai_ev=0x%02X edge_ai_trend=%u edge_ai_score=%u edge_ai_ms=%lu edge_ai_max_ms=%lu edge_ai_age_ms=%lu edge_ai_skip=%lu edge_ai_ran=%u edge_ai_stale=%u event_id=%lu event_type=%s trigger=%s flags=0x%08lx ack_ms=%lu relay=%u manual=%u auto=%u",
                 (unsigned long)now,
                 (unsigned long)s_ai_session_id,
                 s_ai_session_label,
                 sensor.temperature_c,
                 sensor.humidity_pct,
                 (unsigned int)sensor.env_valid,
                 (unsigned int)sensor.gas_valid,
                 sensor.gas,
                 (unsigned int)sensor.gas_baseline_mv,
                 (unsigned int)sensor.gas_ppm_est,
                 (unsigned int)SensorMvp_GetGasPpmDebugOffset(),
                 (unsigned int)sensor.gas_delta_mv,
                 sensor.presence,
                 (unsigned int)sensor.pir_presence,
                 (unsigned int)sensor.rd03_ot2_presence,
                 (unsigned int)sensor.radar_valid,
                 (unsigned int)sensor.radar_presence,
                 (unsigned int)sensor.radar_distance_cm,
                 (unsigned int)sensor.radar_zone,
                 (unsigned int)sensor.radar_peak_gate,
                 (unsigned int)sensor.radar_peak_gate_cm,
                 (unsigned long)sensor.radar_peak_energy,
                 (unsigned int)sensor.radar_active_gate_count,
                 (unsigned long)sensor.radar_motion_score,
                 (unsigned long)sensor.radar_energy_sum,
                 (unsigned long)sensor.radar_still_seconds,
                 (unsigned long)sensor.radar_occupied_seconds,
                 (unsigned long)sensor.radar_last_seen_age_ms,
                 AppState_ToText(app_status.state),
                 AppScenario_ToShortText(app_status.scenario),
                 app_status.risk,
                 Get_RiskSource_Text(&sensor, &app_status),
                 SceneEngine_IdToText(scene_status.top.id),
                 SceneEngine_ActionToText(scene_status.top.action_hint),
                 (unsigned int)scene_status.top.severity,
                 (unsigned int)scene_status.top.confidence,
                 (unsigned int)scene_status.signal_count,
                 (unsigned long)scene_status.scene_mask,
                 (unsigned int)scene_status.top.evidence_primary,
                 (unsigned int)scene_status.top.evidence_secondary,
                 EdgeAi_SceneToText((EdgeAiScene_t)app_status.edge_ai_scene),
                 EdgeAi_SceneToText((EdgeAiScene_t)app_status.edge_ai_raw_scene),
                 (unsigned int)app_status.edge_ai_risk,
                 (unsigned int)app_status.edge_ai_confidence,
                 (unsigned int)app_status.edge_ai_stability,
                 (unsigned int)app_status.edge_ai_evidence_mask,
                 (unsigned int)app_status.edge_ai_trend_score,
                 (unsigned int)app_status.edge_ai_anomaly_score,
                 (unsigned long)edge_ai_result.last_run_ms,
                 (unsigned long)edge_ai_result.max_run_ms,
                 (unsigned long)edge_ai_age_ms,
                 (unsigned long)edge_ai_result.skipped_count,
                 (unsigned int)edge_ai_result.ran_this_tick,
                 (unsigned int)edge_ai_result.stale,
                 (unsigned long)app_status.last_event_id,
                 AppEventType_ToText(app_status.last_event_type),
                 AppTriggerSource_ToText(app_status.last_trigger_source),
                 (unsigned long)app_status.last_event_flags,
                 (unsigned long)app_status.ack_remaining_ms,
                 (unsigned int)app_status.relay_state_mask,
                 (unsigned int)s_relay_manual_mask,
                 (unsigned int)s_relay_auto_mask);
  Debug_WriteLine(line);
}

/* USER CODE END 0 */

int main(void)
{

  /* MCU Configuration--------------------------------------------------------*/

  /* Reset of all peripherals, Initializes the Flash interface and the Systick. */
  HAL_Init();

  /* Configure the system clock */
  SystemClock_Config();

  /* Initialize all configured peripherals */
  MX_GPIO_Init();
  MX_GPDMA1_Init();
  MX_USART1_UART_Init();
  MX_I2C1_Init();
  MX_USART3_UART_Init();
  MX_USART2_UART_Init();
  MX_ADC1_Init();
  MX_SPI1_Init();
  MX_UART4_Init();
  MX_ICACHE_Init();
  MX_TIM1_Init();
  /* USER CODE BEGIN 2 */
  Debug_WriteLine("[INFO] system boot");
  if (CommWifi_Init() == COMM_WIFI_OK)
  {
    Debug_WriteLine("[INFO] comm wifi init ok");
  }
  else
  {
    Debug_WriteLine("[WARN] comm wifi init failed");
  }
  if (CommLocal_Init() == COMM_WIFI_OK)
  {
    Debug_WriteLine("[INFO] local voice uart init ok");
  }
  else
  {
    Debug_WriteLine("[WARN] local voice uart init failed");
  }
  (void)StatusDisplay_Init(&hspi1, Debug_WriteLine);
  AppStateMachine_Init();
  EdgeAi_Init();
  SceneEngine_Init();
  BoardIo_Init(Debug_WriteLine);
  s_relay_manual_mask = 0U;
  s_relay_auto_mask = 0U;
  Apply_Relay_Mask(0U);
  SensorMvp_Init(Debug_WriteLine);
  DebugConsole_StartRx();
  Print_DebugConsole_Help();

  /* USER CODE END 2 */

  /* Infinite loop */
  while (1)
  {

    /* USER CODE BEGIN 3 */
    static uint32_t last_led_tick = 0U;
    static uint32_t last_status_tx_tick = 0U;
    static uint32_t last_display_status_tick = 0U;
    static uint32_t last_ai_sample_tick = 0U;
    uint32_t now = HAL_GetTick();

    SensorMvp_Update();
    Update_App(now);
    Update_BoardIo(now);
    Update_DebugConsole(now);
    Process_Cloud_Commands(now);
    Update_Wifi_Link_Health(now);
    Process_LocalVoice_Commands(now);
    Update_Relay_Automation();
    Flush_App_Events();
    StatusDisplay_Process();

    if ((now - last_display_status_tick) >= MAIN_DISPLAY_STATUS_PERIOD_MS)
    {
      last_display_status_tick = now;
      Update_Local_Display();
    }

    if ((now - last_status_tx_tick) >= MAIN_STATUS_TX_PERIOD_MS)
    {
      last_status_tx_tick = now;
      Send_Status_ToWifi();
    }

    if ((now - last_ai_sample_tick) >= MAIN_AI_SAMPLE_PERIOD_MS)
    {
      last_ai_sample_tick = now;
      Log_Ai_Sample(now);
    }

    if ((now - last_led_tick) >= 500U)
    {
      last_led_tick = now;
      HAL_GPIO_TogglePin(LED_STATUS_GPIO_Port, LED_STATUS_Pin);
    }
  }
  /* USER CODE END 3 */
}

void SystemClock_Config(void)
{
  RCC_OscInitTypeDef RCC_OscInitStruct = {0};
  RCC_ClkInitTypeDef RCC_ClkInitStruct = {0};

  /** Configure the main internal regulator output voltage
  */
  if (HAL_PWREx_ControlVoltageScaling(PWR_REGULATOR_VOLTAGE_SCALE2) != HAL_OK)
  {
    Error_Handler();
  }

  /** Initializes the CPU, AHB and APB buses clocks
  */
  RCC_OscInitStruct.OscillatorType = RCC_OSCILLATORTYPE_HSI|RCC_OSCILLATORTYPE_MSI;
  RCC_OscInitStruct.HSIState = RCC_HSI_ON;
  RCC_OscInitStruct.HSICalibrationValue = RCC_HSICALIBRATION_DEFAULT;
  RCC_OscInitStruct.MSIState = RCC_MSI_ON;
  RCC_OscInitStruct.MSICalibrationValue = RCC_MSICALIBRATION_DEFAULT;
  RCC_OscInitStruct.MSIClockRange = RCC_MSIRANGE_4;
  RCC_OscInitStruct.PLL.PLLState = RCC_PLL_ON;
  RCC_OscInitStruct.PLL.PLLSource = RCC_PLLSOURCE_MSI;
  RCC_OscInitStruct.PLL.PLLMBOOST = RCC_PLLMBOOST_DIV1;
  RCC_OscInitStruct.PLL.PLLM = 1;
  RCC_OscInitStruct.PLL.PLLN = 40;
  RCC_OscInitStruct.PLL.PLLP = 2;
  RCC_OscInitStruct.PLL.PLLQ = 2;
  RCC_OscInitStruct.PLL.PLLR = 2;
  RCC_OscInitStruct.PLL.PLLRGE = RCC_PLLVCIRANGE_0;
  RCC_OscInitStruct.PLL.PLLFRACN = 0;
  if (HAL_RCC_OscConfig(&RCC_OscInitStruct) != HAL_OK)
  {
    Error_Handler();
  }

  /** Initializes the CPU, AHB and APB buses clocks
  */
  RCC_ClkInitStruct.ClockType = RCC_CLOCKTYPE_HCLK|RCC_CLOCKTYPE_SYSCLK
                              |RCC_CLOCKTYPE_PCLK1|RCC_CLOCKTYPE_PCLK2
                              |RCC_CLOCKTYPE_PCLK3;
  RCC_ClkInitStruct.SYSCLKSource = RCC_SYSCLKSOURCE_PLLCLK;
  RCC_ClkInitStruct.AHBCLKDivider = RCC_SYSCLK_DIV1;
  RCC_ClkInitStruct.APB1CLKDivider = RCC_HCLK_DIV1;
  RCC_ClkInitStruct.APB2CLKDivider = RCC_HCLK_DIV1;
  RCC_ClkInitStruct.APB3CLKDivider = RCC_HCLK_DIV1;

  if (HAL_RCC_ClockConfig(&RCC_ClkInitStruct, FLASH_LATENCY_2) != HAL_OK)
  {
    Error_Handler();
  }
}

void Error_Handler(void)
{
  /* USER CODE BEGIN Error_Handler_Debug */
  const uint8_t message[] = "[FAIL] error handler\r\n";

  (void)HAL_UART_Transmit(&huart1, message, (uint16_t)(sizeof(message) - 1U), 100U);

  __disable_irq();
  while (1)
  {
    HAL_GPIO_TogglePin(LED_STATUS_GPIO_Port, LED_STATUS_Pin);
    HAL_Delay(100U);
  }
  /* USER CODE END Error_Handler_Debug */
}
